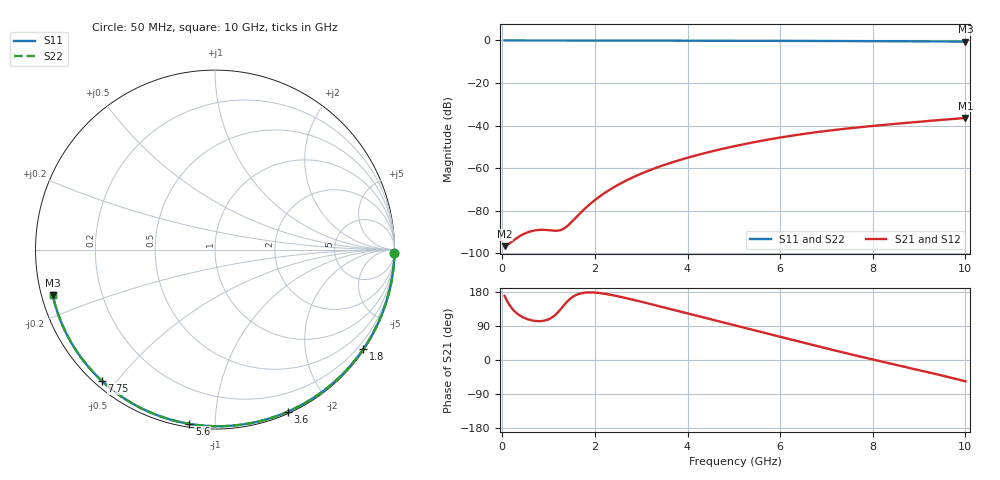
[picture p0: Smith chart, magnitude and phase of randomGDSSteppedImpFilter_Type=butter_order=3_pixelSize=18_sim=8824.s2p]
! freq	dB(S11)	phase(S11)	dB(S12)	phase(S12)
!  dB(S21)	phase(S21)	dB(S22)	phase(S22)
!S-par simulation data
#  GHz  S  DB  R 50
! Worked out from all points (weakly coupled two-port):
!   200 points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, 50 MHz to 10 GHz, reference 50 ohm
!   highest |S21| = -36.45 dB at 10 GHz (marker M1); lowest = -96.7 dB at 50 MHz (marker M2)
!   lowest |S11| = -0.5 dB at 10 GHz (marker M3), VSWR 31.86, Z = 1.6 - j6.87 ohm
!   |S11| at or under -10 dB: nowhere
!   |S22| runs from -0.5 to 0.0 dB; largest |S21 - S12| = 0
!   S11 on the Smith chart (normalised r, x): 50 MHz: open; 1.8 GHz: 0.03, -3.29; 3.6 GHz: 0.02, -1.55; 5.6 GHz: 0.02, -0.86; 7.75 GHz: 0.02, -0.46; 10 GHz: 0.03, -0.14
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0.05  -0.00 -1.0  -96.71 169.2  -96.71 169.2  -0.00 -1.0
0.45  -0.01 -8.6  -91.14 112.5  -91.14 112.5  -0.01 -8.6
0.85  -0.02 -16.2  -89.01 102.8  -89.01 102.8  -0.02 -16.2
1.25  -0.03 -23.6  -89.21 132.6  -89.21 132.6  -0.03 -23.7
1.7  -0.04 -32.0  -80.81 176.0  -80.81 176.0  -0.04 -32.0
1.75  -0.04 -32.9  -79.75 177.2  -79.75 177.2  -0.04 -32.9
1.8  -0.04 -33.8  -78.73 177.9  -78.73 177.9  -0.04 -33.8
1.95  -0.05 -36.6  -75.90 178.3  -75.90 178.3  -0.05 -36.6
2.15  -0.05 -40.2  -72.61 175.9  -72.61 175.9  -0.05 -40.2
2.5  -0.06 -46.5  -67.87 168.1  -67.87 168.1  -0.06 -46.5
2.9  -0.07 -53.6  -63.56 156.8  -63.56 156.8  -0.07 -53.6
3.4  -0.08 -62.3  -59.26 141.5  -59.26 141.5  -0.08 -62.3
3.6  -0.09 -65.7  -57.78 135.3  -57.78 135.3  -0.09 -65.7
4.3  -0.11 -77.5  -53.36 113.7  -53.36 113.7  -0.11 -77.5
5.05  -0.14 -89.6  -49.52 90.7  -49.52 90.7  -0.14 -89.7
5.6  -0.16 -98.3  -47.15 73.7  -47.15 73.7  -0.16 -98.4
6.15  -0.19 -106.8  -45.10 56.7  -45.10 56.7  -0.19 -106.9
6.7  -0.22 -115.2  -43.35 39.7  -43.35 39.7  -0.22 -115.2
7.75  -0.30 -130.8  -40.72 8.4  -40.72 8.4  -0.30 -130.9
8.35  -0.36 -139.7  -39.47 -8.6  -39.47 -8.6  -0.36 -139.7
9.2  -0.45 -152.2  -37.85 -32.4  -37.85 -32.4  -0.45 -152.3
10  -0.55 -164.3  -36.45 -56.3  -36.45 -56.3  -0.55 -164.4
